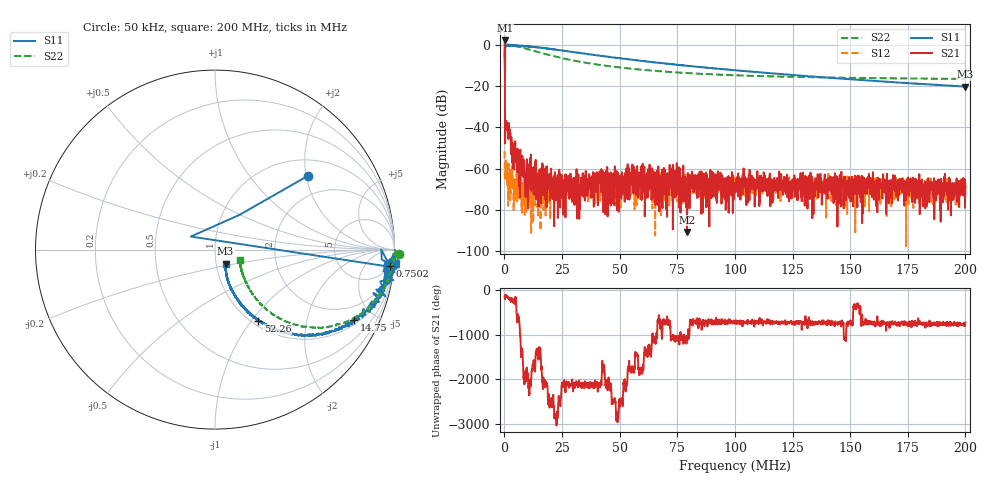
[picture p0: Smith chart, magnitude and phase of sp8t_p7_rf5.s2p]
! 26-Feb-26 1:03:08 PM
! E:\VNA_MEASUREMENTS\SP8T\SP8T_P7_RF5.S2P
! CHANNEL.1
! TR.MEASUREMENT
! CORRECTED.DATA
# GHZ S RI R 50.0
! FREQ.GHZ  S11RE  S11IM  S21RE  S21IM  S12RE  S12IM  S22RE  S22IM
!; PortSelection: Port_12
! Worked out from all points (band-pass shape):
!   2000 points, 50 kHz to 200 MHz, reference 50 ohm
!   highest |S21| = 2.26 dB at 150 kHz (marker M1); lowest = -90.8 dB at 79.17 MHz (marker M2)
!   |S21| within 3 dB of the highest: 111.1 kHz to 156 kHz (44.96 kHz wide, 33.7 % of centre)
!   lowest |S11| = -20.2 dB at 200 MHz (marker M3), VSWR 1.22, Z = 55.5 - j8.78 ohm
!   |S11| at or under -10 dB: 122.1 kHz to 288.3 kHz (166.2 kHz wide, 81 % of centre); 78.4769 MHz to 78.69401 MHz (217.1 kHz wide, 0.276 % of centre); 78.92 MHz to end of sweep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
!   |S22| runs from -16.5 to 0.2 dB; largest |S21 - S12| = 1.3
!   S11 on the Smith chart (normalised r, x): 50 kHz: 1.41, +2.03; 750.2 kHz: 4, -20; 14.75 MHz: 1.22, -3.85; 52.26 MHz: 1.07, -1.08; 200 MHz: 1.11, -0.18
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5e-05  0.5154 0.4097  -0.485 -0.2241  -0.00266 -7.14e-05  1.027 -0.0251
0.000150025  0.1379 0.1942  -1.297 0.0198  0.000144 0.000781  0.9998 -0.00266
0.000750175  0.9765 -0.0929  -0.00896 -0.0116  -0.000941 0.000575  0.9904 -0.0536
0.0012503  0.9764 -0.0513  -0.0109 -0.00717  -0.00037 -0.000148  0.9893 -0.0865
0.005751426  0.9207 -0.1774  -0.00148 0.000323  0.000335 -0.000557  0.8576 -0.3169
0.01475368  0.7751 -0.3905  -0.000239 -0.000438  0.000164 0.000199  0.5168 -0.43
0.02255563  0.6132 -0.4641  -0.000229 -0.000175  0.000259 0.000191  0.3535 -0.379
0.03345835  0.4263 -0.4722  0.000201 -0.00014  0.0003 0.000235  0.2497 -0.2974
0.0416604  0.3294 -0.4424  0.000828 0.000203  0.0004 0.000272  0.2119 -0.2508
0.04376093  0.3092 -0.4356  6.78e-05 3.87e-05  0.000356 0.00018  0.2049 -0.2418
0.04816203  0.2715 -0.4129  0.000717 0.000354  0.000127 -3.3e-06  0.1932 -0.2216
0.05226306  0.2407 -0.3966  0.000547 0.000175  0.000312 0.000149  0.1849 -0.2068
0.06676668  0.1689 -0.3321  0.00112 -6.25e-05  -3.9e-06 0.00016  0.1651 -0.1653
0.07526881  0.1416 -0.2993  0.000107 -0.00022  0.000703 0.000163  0.1587 -0.1471
0.07916979  0.1339 -0.2851  2.88e-05 1.9e-06  0.000454 0.000131  0.1559 -0.1411
0.08227056  0.1233 -0.2771  0.000582 -0.000182  0.000442 8.29e-05  0.1543 -0.1361
0.08807201  0.1116 -0.2592  -1.77e-05 -0.000125  0.000555 9.82e-05  0.1511 -0.1277
0.100075  0.094 -0.2269  0.000413 0.000153  0.000471 -4.36e-05  0.1477 -0.1122
0.1333833  0.068 -0.1594  0.000552 -4.87e-05  0.000469 -0.000116  0.142 -0.0858
0.1666917  0.0603 -0.1131  -1.1e-06 -0.000144  0.000163 -5.49e-05  0.1403 -0.0701
0.1953988  0.0588 -0.0825  0.000297 -0.000235  0.000164 -0.000391  0.1392 -0.0596
0.2  0.059 -0.0783  0.000356 -0.00012  0.000429 -0.000132  0.1394 -0.0578
